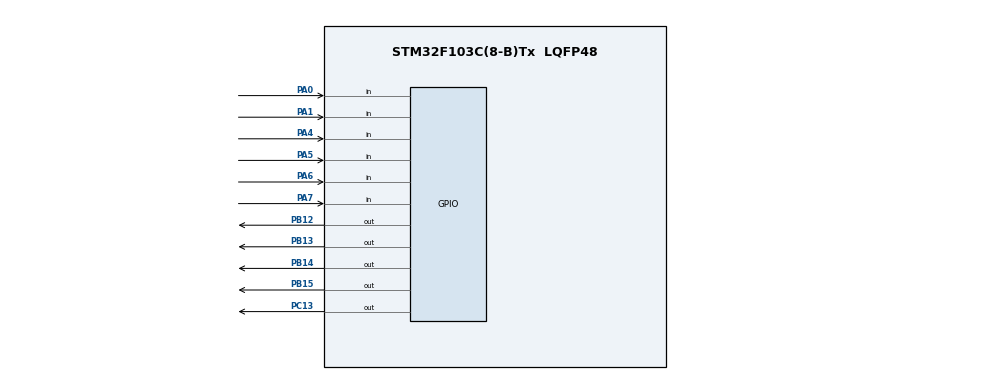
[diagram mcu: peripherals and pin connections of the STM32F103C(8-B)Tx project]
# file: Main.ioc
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Mcu.Family=STM32F1
Mcu.Name=STM32F103C(8-B)Tx
Mcu.Package=LQFP48
NVIC.PriorityGroup=NVIC_PRIORITYGROUP_4
PA0-WKUP.GPIO_PuPd=GPIO_PULLUP
PA0-WKUP.Signal=GPIO_Input
PA1.GPIO_PuPd=GPIO_PULLDOWN
PA1.Signal=GPIO_Input
PA13.Mode=JTAG_4_pins
PA13.Signal=SYS_JTMS-SWDIO
PA14.Mode=JTAG_4_pins
PA14.Signal=SYS_JTCK-SWCLK
PA15.Mode=JTAG_4_pins
PA15.Signal=SYS_JTDI
PA4.Signal=GPIO_Input
PA5.Signal=GPIO_Input
PA6.Signal=GPIO_Input
PA7.Signal=GPIO_Input
PB12.Signal=GPIO_Output
PB13.Signal=GPIO_Output
PB14.Signal=GPIO_Output
PB15.Signal=GPIO_Output
PB3.Mode=JTAG_4_pins
PB3.Signal=SYS_JTDO-TRACESWO
PC13-TAMPER-RTC.PinState=GPIO_PIN_SET
PC13-TAMPER-RTC.Signal=GPIO_Output
ProjectManager.HeapSize=0x200
ProjectManager.StackSize=0x400
ProjectManager.TargetToolchain=MDK-ARM V5.32
RCC.APB1Freq_Value=8000000
RCC.APB2Freq_Value=8000000
board=custom

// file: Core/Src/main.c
/* USER CODE BEGIN Header */
/**
  ******************************************************************************
  * @file           : main.c
  * @brief          : Main program body
  ******************************************************************************
  * @attention
  *
  * Copyright (c) 2023 STMicroelectronics.
  * All rights reserved.
  *
  * This software is licensed under terms that can be found in the LICENSE file
  * in the root directory of this software component.
  * If no LICENSE file comes with this software, it is provided AS-IS.
  *
  ******************************************************************************
  */
/* USER CODE END Header */
#include "main.h"

/* USER CODE BEGIN Includes */
#include "aj_gpio.h"
/* USER CODE END Includes */

void SystemClock_Config(void);
static void MX_GPIO_Init(void);

/* USER CODE BEGIN 0 */
static inline void Delay_us(uint32_t us){
	while(us--){
			/* 8 MHz -> 1 cycle = 125 ns
				 8 cycles � 1 us */
			__NOP();
			__NOP();
			__NOP();
			__NOP();
			__NOP();
			__NOP();
			__NOP();
			__NOP();
	}
}

static inline void Delay_ms(uint32_t ms){
    while(ms--){
        Delay_us(1000);
    }
}
/* USER CODE END 0 */

int main(void)
{

  /* MCU Configuration--------------------------------------------------------*/

  /* Reset of all peripherals, Initializes the Flash interface and the Systick. */
  LL_APB2_GRP1_EnableClock(LL_APB2_GRP1_PERIPH_AFIO);
  LL_APB1_GRP1_EnableClock(LL_APB1_GRP1_PERIPH_PWR);

  /* System interrupt init*/
  NVIC_SetPriorityGrouping(NVIC_PRIORITYGROUP_4);

  /* SysTick_IRQn interrupt configuration */
  NVIC_SetPriority(SysTick_IRQn, NVIC_EncodePriority(NVIC_GetPriorityGrouping(),15, 0));

  /** NONJTRST: Full SWJ (JTAG-DP + SW-DP) but without NJTRST
  */
  LL_GPIO_AF_Remap_SWJ_NONJTRST();

  /* Configure the system clock */
  SystemClock_Config();

  /* Initialize all configured peripherals */
  //MX_GPIO_Init();
  /* USER CODE BEGIN 2 */
	  /* GPIO Ports Clock Enable */
		LL_APB2_GRP1_EnableClock(LL_APB2_GRP1_PERIPH_GPIOC);
		LL_APB2_GRP1_EnableClock(LL_APB2_GRP1_PERIPH_GPIOA);
		LL_APB2_GRP1_EnableClock(LL_APB2_GRP1_PERIPH_GPIOB);
  /* USER CODE END 2 */

  /* Infinite loop */
  /* USER CODE BEGIN WHILE */
//	AJ_GPIO_ConfigureDirection(GPIOC, 13, GPIO_MODE_INPUT);
//	AJ_GPIO_ConfigureInputType(GPIOC, 13, GPIO_INPUT_FLOATING);
//
//	GPIO_LockPinMask(GPIOC, (0x01U << 13U));

//	AJ_GPIO_ConfigureDirection(GPIOC, 13, GPIO_MODE_OUTPUT_2MHz);
//	AJ_GPIO_ConfigureOutputType(GPIOC, 13, GPIO_OUTPUT_GP_PUSHPULL);
//	GPIO_WritePin(GPIOC, 13, 0);
//	while (1){}

	//Init Pins for LED
	AJ_GPIO_ConfigureDirection(GPIOC, AJ_GPIO_PIN_13_POS, AJ_GPIO_MODE_OUTPUT_2MHz);
	AJ_GPIO_ConfigureOutputType(GPIOC, AJ_GPIO_PIN_13_POS, AJ_GPIO_OUTPUT_GP_PUSHPULL);
	AJ_GPIO_WritePin_Position(GPIOC, AJ_GPIO_PIN_13_POS, 1);

	//Init Pins for Button_On
	AJ_GPIO_ConfigureDirection(GPIOA, AJ_GPIO_PIN_0_POS, AJ_GPIO_MODE_INPUT);
	AJ_GPIO_ConfigureInputType(GPIOA, AJ_GPIO_PIN_0_POS, AJ_GPIO_INPUT_PULL);
	AJ_GPIO_ConfigurePull(GPIOA, AJ_GPIO_PIN_0_POS, AJ_GPIO_PULL_UP);

	//Init Pins for Button_Off
	AJ_GPIO_ConfigureDirection(GPIOA, AJ_GPIO_PIN_1_POS, AJ_GPIO_MODE_INPUT);
	AJ_GPIO_ConfigureInputType(GPIOA, AJ_GPIO_PIN_1_POS, AJ_GPIO_INPUT_PULL);
	AJ_GPIO_ConfigurePull(GPIOA, AJ_GPIO_PIN_1_POS, AJ_GPIO_PULL_DOWN);

	//Init Pins for 4-channel input
	AJ_GPIO_ConfigureDirection(GPIOA, AJ_GPIO_PIN_4_POS, AJ_GPIO_MODE_INPUT);
	AJ_GPIO_ConfigureInputType(GPIOA, AJ_GPIO_PIN_4_POS, AJ_GPIO_INPUT_FLOATING);

	AJ_GPIO_ConfigureDirection(GPIOA, AJ_GPIO_PIN_5_POS, AJ_GPIO_MODE_INPUT);
	AJ_GPIO_ConfigureInputType(GPIOA, AJ_GPIO_PIN_5_POS, AJ_GPIO_INPUT_FLOATING);

	AJ_GPIO_ConfigureDirection(GPIOA, AJ_GPIO_PIN_6_POS, AJ_GPIO_MODE_INPUT);
	AJ_GPIO_ConfigureInputType(GPIOA, AJ_GPIO_PIN_6_POS, AJ_GPIO_INPUT_FLOATING);

	AJ_GPIO_ConfigureDirection(GPIOA, AJ_GPIO_PIN_7_POS, AJ_GPIO_MODE_INPUT);
	AJ_GPIO_ConfigureInputType(GPIOA, AJ_GPIO_PIN_7_POS, AJ_GPIO_INPUT_FLOATING);

	//Init Pins for 4-pin 7-Segment
	AJ_GPIO_ConfigureDirection(GPIOB, AJ_GPIO_PIN_12_POS, AJ_GPIO_MODE_OUTPUT_2MHz);
	AJ_GPIO_ConfigureOutputType(GPIOB, AJ_GPIO_PIN_12_POS, AJ_GPIO_OUTPUT_GP_PUSHPULL);
	AJ_GPIO_ClearPin_Position(GPIOB, AJ_GPIO_PIN_12_POS);

	AJ_GPIO_ConfigureDirection(GPIOB, AJ_GPIO_PIN_13_POS, AJ_GPIO_MODE_OUTPUT_2MHz);
	AJ_GPIO_ConfigureOutputType(GPIOB, AJ_GPIO_PIN_13_POS, AJ_GPIO_OUTPUT_GP_PUSHPULL);
	AJ_GPIO_ClearPin_Position(GPIOB, AJ_GPIO_PIN_13_POS);

	AJ_GPIO_ConfigureDirection(GPIOB, AJ_GPIO_PIN_14_POS, AJ_GPIO_MODE_OUTPUT_2MHz);
	AJ_GPIO_ConfigureOutputType(GPIOB, AJ_GPIO_PIN_14_POS, AJ_GPIO_OUTPUT_GP_PUSHPULL);
	AJ_GPIO_ClearPin_Position(GPIOB, AJ_GPIO_PIN_14_POS);

	AJ_GPIO_ConfigureDirection(GPIOB, AJ_GPIO_PIN_15_POS, AJ_GPIO_MODE_OUTPUT_2MHz);
	AJ_GPIO_ConfigureOutputType(GPIOB, AJ_GPIO_PIN_15_POS, AJ_GPIO_OUTPUT_GP_PUSHPULL);
	AJ_GPIO_ClearPin_Position(GPIOB, AJ_GPIO_PIN_15_POS);

  while (1){
    /* USER CODE END WHILE */

    /* USER CODE BEGIN 3 */
		if(AJ_GPIO_ReadPin_Position(GPIOA, AJ_GPIO_PIN_0_POS) == 0){
			AJ_GPIO_ClearPin_Position(GPIOC, AJ_GPIO_PIN_13_POS);
		}

		if(AJ_GPIO_ReadPin_Position(GPIOA, AJ_GPIO_PIN_1_POS) == 1){
			AJ_GPIO_SetPin_Position(GPIOC, AJ_GPIO_PIN_13_POS);
		}

		//uint32_t value = GPIO_Read4Pin(GPIOA, 4U);

		//GPIO_Write4Pin(GPIOB, GPIO_PIN_12, value);
  }
  /* USER CODE END 3 */
}

void SystemClock_Config(void)
{
  LL_FLASH_SetLatency(LL_FLASH_LATENCY_0);
  while(LL_FLASH_GetLatency()!= LL_FLASH_LATENCY_0)
  {
  }
  LL_RCC_HSI_SetCalibTrimming(16);
  LL_RCC_HSI_Enable();

   /* Wait till HSI is ready */
  while(LL_RCC_HSI_IsReady() != 1)
  {

  }
  LL_RCC_SetAHBPrescaler(LL_RCC_SYSCLK_DIV_1);
  LL_RCC_SetAPB1Prescaler(LL_RCC_APB1_DIV_1);
  LL_RCC_SetAPB2Prescaler(LL_RCC_APB2_DIV_1);
  LL_RCC_SetSysClkSource(LL_RCC_SYS_CLKSOURCE_HSI);

   /* Wait till System clock is ready */
  while(LL_RCC_GetSysClkSource() != LL_RCC_SYS_CLKSOURCE_STATUS_HSI)
  {

  }
  LL_Init1msTick(8000000);
  LL_SetSystemCoreClock(8000000);
}

static void MX_GPIO_Init(void)
{
  LL_GPIO_InitTypeDef GPIO_InitStruct = {0};

  /* GPIO Ports Clock Enable */
  LL_APB2_GRP1_EnableClock(LL_APB2_GRP1_PERIPH_GPIOC);
  LL_APB2_GRP1_EnableClock(LL_APB2_GRP1_PERIPH_GPIOA);
  LL_APB2_GRP1_EnableClock(LL_APB2_GRP1_PERIPH_GPIOB);

  /**/
  LL_GPIO_SetOutputPin(GPIOC, LL_GPIO_PIN_13);

  /**/
  LL_GPIO_ResetOutputPin(GPIOB, LL_GPIO_PIN_12|LL_GPIO_PIN_13|LL_GPIO_PIN_14|LL_GPIO_PIN_15);

  /**/
  GPIO_InitStruct.Pin = LL_GPIO_PIN_13;
  GPIO_InitStruct.Mode = LL_GPIO_MODE_OUTPUT;
  GPIO_InitStruct.Speed = LL_GPIO_SPEED_FREQ_LOW;
  GPIO_InitStruct.OutputType = LL_GPIO_OUTPUT_PUSHPULL;
  LL_GPIO_Init(GPIOC, &GPIO_InitStruct);

  /**/
  GPIO_InitStruct.Pin = LL_GPIO_PIN_0;
  GPIO_InitStruct.Mode = LL_GPIO_MODE_INPUT;
  GPIO_InitStruct.Pull = LL_GPIO_PULL_UP;
  LL_GPIO_Init(GPIOA, &GPIO_InitStruct);

  /**/
  GPIO_InitStruct.Pin = LL_GPIO_PIN_1;
  GPIO_InitStruct.Mode = LL_GPIO_MODE_INPUT;
  GPIO_InitStruct.Pull = LL_GPIO_PULL_DOWN;
  LL_GPIO_Init(GPIOA, &GPIO_InitStruct);

  /**/
  GPIO_InitStruct.Pin = LL_GPIO_PIN_4|LL_GPIO_PIN_5|LL_GPIO_PIN_6|LL_GPIO_PIN_7;
  GPIO_InitStruct.Mode = LL_GPIO_MODE_FLOATING;
  LL_GPIO_Init(GPIOA, &GPIO_InitStruct);

  /**/
  GPIO_InitStruct.Pin = LL_GPIO_PIN_12|LL_GPIO_PIN_13|LL_GPIO_PIN_14|LL_GPIO_PIN_15;
  GPIO_InitStruct.Mode = LL_GPIO_MODE_OUTPUT;
  GPIO_InitStruct.Speed = LL_GPIO_SPEED_FREQ_LOW;
  GPIO_InitStruct.OutputType = LL_GPIO_OUTPUT_PUSHPULL;
  LL_GPIO_Init(GPIOB, &GPIO_InitStruct);

}

void Error_Handler(void)
{
  __disable_irq();
  while (1)
  {
  }
}
